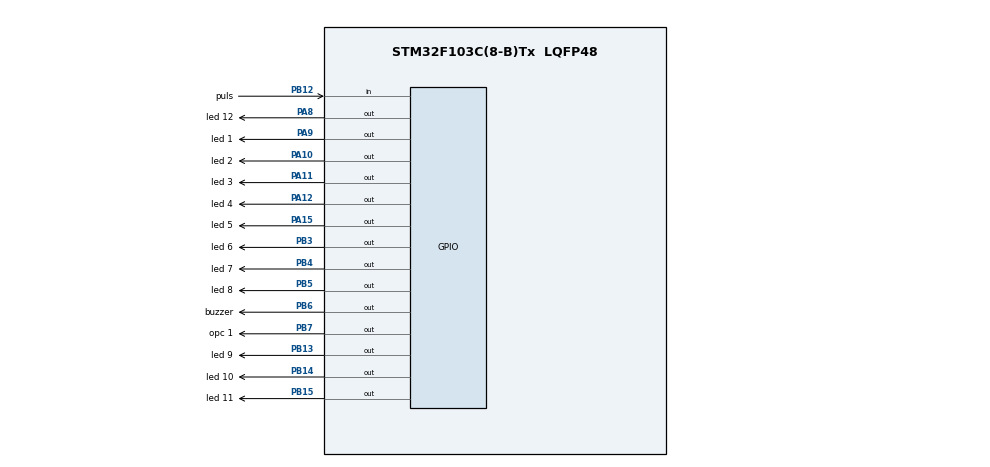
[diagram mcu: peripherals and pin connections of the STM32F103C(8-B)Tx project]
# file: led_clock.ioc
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Mcu.Family=STM32F1
Mcu.Name=STM32F103C(8-B)Tx
Mcu.Package=LQFP48
NVIC.PriorityGroup=NVIC_PRIORITYGROUP_4
PA10.GPIO_Label=led 2
PA10.Signal=GPIO_Output
PA11.GPIO_Label=led 3
PA11.Signal=GPIO_Output
PA12.GPIO_Label=led 4
PA12.Signal=GPIO_Output
PA13.Mode=Serial_Wire
PA13.Signal=SYS_JTMS-SWDIO
PA14.Mode=Serial_Wire
PA14.Signal=SYS_JTCK-SWCLK
PA15.GPIO_Label=led 5
PA15.Signal=GPIO_Output
PA8.GPIO_Label=led 12
PA8.Signal=GPIO_Output
PA9.GPIO_Label=led 1
PA9.Signal=GPIO_Output
PB12.GPIO_Label=puls
PB12.GPIO_PuPd=GPIO_PULLUP
PB12.Signal=GPIO_Input
PB13.GPIO_Label=led 9
PB13.Signal=GPIO_Output
PB14.GPIO_Label=led 10
PB14.Signal=GPIO_Output
PB15.GPIO_Label=led 11
PB15.Signal=GPIO_Output
PB3.GPIO_Label=led 6
PB3.Signal=GPIO_Output
PB4.GPIO_Label=led 7
PB4.Signal=GPIO_Output
PB5.GPIO_Label=led 8
PB5.Signal=GPIO_Output
PB6.GPIO_Label=buzzer
PB6.Signal=GPIO_Output
PB7.GPIO_Label=opc 1
PB7.Signal=GPIO_Output
PD0-OSC_IN.Mode=HSE-External-Oscillator
PD0-OSC_IN.Signal=RCC_OSC_IN
PD1-OSC_OUT.Mode=HSE-External-Oscillator
PD1-OSC_OUT.Signal=RCC_OSC_OUT
ProjectManager.HeapSize=0x200
ProjectManager.StackSize=0x400
ProjectManager.TargetToolchain=STM32CubeIDE
RCC.APB1Freq_Value=8000000
RCC.APB2Freq_Value=8000000
board=custom

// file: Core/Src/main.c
/* USER CODE BEGIN Header */
/**
  ******************************************************************************
  * @file           : main.c
  * @brief          : Main program body
  ******************************************************************************
  * @attention
  *
  * <h2><center>&copy; Copyright (c) 2020 STMicroelectronics.
  * All rights reserved.</center></h2>
  *
  * This software component is licensed by ST under BSD 3-Clause license,
  * the "License"; You may not use this file except in compliance with the
  * License. You may obtain a copy of the License at:
  *                        opensource.org/licenses/BSD-3-Clause
  *
  ******************************************************************************
  */
/* USER CODE END Header */

#include "main.h"

void SystemClock_Config(void);
static void MX_GPIO_Init(void);

/* USER CODE BEGIN 0 */
void encender(int tiempo);
void apagar(int tiempo);
int inicial(int tiempo[]);
int  run(int tiempo[]);
int set(int tiempo[]);
/* USER CODE END 0 */

int main(void)
{
  /* USER CODE BEGIN 1 */
	int tiempo[] = {7,30,0};
	int state = 1;
  /* USER CODE END 1 */

  /* MCU Configuration--------------------------------------------------------*/

  /* Reset of all peripherals, Initializes the Flash interface and the Systick. */
  HAL_Init();

  /* Configure the system clock */
  SystemClock_Config();

  /* Initialize all configured peripherals */
  MX_GPIO_Init();

  /* Infinite loop */
  /* USER CODE BEGIN WHILE */
  while (1)
  {
	  switch (state) {
	  		case 1:
	  			state = inicial(tiempo);
	  			break;
	  		case 2:
	  			state = run(tiempo);
	  			break;
	  		case 3:
	  			state = set(tiempo);
	  			break;
	  		default:
	  			break;
	  }
    /* USER CODE END WHILE */

  }
}

void SystemClock_Config(void)
{
  RCC_OscInitTypeDef RCC_OscInitStruct = {0};
  RCC_ClkInitTypeDef RCC_ClkInitStruct = {0};

  /** Initializes the CPU, AHB and APB busses clocks
  */
  RCC_OscInitStruct.OscillatorType = RCC_OSCILLATORTYPE_HSI;
  RCC_OscInitStruct.HSIState = RCC_HSI_ON;
  RCC_OscInitStruct.HSICalibrationValue = RCC_HSICALIBRATION_DEFAULT;
  RCC_OscInitStruct.PLL.PLLState = RCC_PLL_NONE;
  if (HAL_RCC_OscConfig(&RCC_OscInitStruct) != HAL_OK)
  {
    Error_Handler();
  }
  /** Initializes the CPU, AHB and APB busses clocks
  */
  RCC_ClkInitStruct.ClockType = RCC_CLOCKTYPE_HCLK|RCC_CLOCKTYPE_SYSCLK
                              |RCC_CLOCKTYPE_PCLK1|RCC_CLOCKTYPE_PCLK2;
  RCC_ClkInitStruct.SYSCLKSource = RCC_SYSCLKSOURCE_HSI;
  RCC_ClkInitStruct.AHBCLKDivider = RCC_SYSCLK_DIV1;
  RCC_ClkInitStruct.APB1CLKDivider = RCC_HCLK_DIV1;
  RCC_ClkInitStruct.APB2CLKDivider = RCC_HCLK_DIV1;

  if (HAL_RCC_ClockConfig(&RCC_ClkInitStruct, FLASH_LATENCY_0) != HAL_OK)
  {
    Error_Handler();
  }
}

static void MX_GPIO_Init(void)
{
  GPIO_InitTypeDef GPIO_InitStruct = {0};

  /* GPIO Ports Clock Enable */
  __HAL_RCC_GPIOD_CLK_ENABLE();
  __HAL_RCC_GPIOB_CLK_ENABLE();
  __HAL_RCC_GPIOA_CLK_ENABLE();

  /*Configure GPIO pin Output Level */
  HAL_GPIO_WritePin(GPIOB, led_9_Pin|led_10_Pin|led_11_Pin|led_6_Pin
                          |led_7_Pin|led_8_Pin|buzzer_Pin|opc_1_Pin, GPIO_PIN_RESET);

  /*Configure GPIO pin Output Level */
  HAL_GPIO_WritePin(GPIOA, led_12_Pin|led_1_Pin|led_2_Pin|led_3_Pin
                          |led_4_Pin|led_5_Pin, GPIO_PIN_RESET);

  /*Configure GPIO pin : puls_Pin */
  GPIO_InitStruct.Pin = puls_Pin;
  GPIO_InitStruct.Mode = GPIO_MODE_INPUT;
  GPIO_InitStruct.Pull = GPIO_PULLUP;
  HAL_GPIO_Init(puls_GPIO_Port, &GPIO_InitStruct);

  /*Configure GPIO pins : led_9_Pin led_10_Pin led_11_Pin led_6_Pin
                           led_7_Pin led_8_Pin buzzer_Pin opc_1_Pin */
  GPIO_InitStruct.Pin = led_9_Pin|led_10_Pin|led_11_Pin|led_6_Pin
                          |led_7_Pin|led_8_Pin|buzzer_Pin|opc_1_Pin;
  GPIO_InitStruct.Mode = GPIO_MODE_OUTPUT_PP;
  GPIO_InitStruct.Pull = GPIO_NOPULL;
  GPIO_InitStruct.Speed = GPIO_SPEED_FREQ_LOW;
  HAL_GPIO_Init(GPIOB, &GPIO_InitStruct);

  /*Configure GPIO pins : led_12_Pin led_1_Pin led_2_Pin led_3_Pin
                           led_4_Pin led_5_Pin */
  GPIO_InitStruct.Pin = led_12_Pin|led_1_Pin|led_2_Pin|led_3_Pin
                          |led_4_Pin|led_5_Pin;
  GPIO_InitStruct.Mode = GPIO_MODE_OUTPUT_PP;
  GPIO_InitStruct.Pull = GPIO_NOPULL;
  GPIO_InitStruct.Speed = GPIO_SPEED_FREQ_LOW;
  HAL_GPIO_Init(GPIOA, &GPIO_InitStruct);

}

/* USER CODE BEGIN 4 */
int inicial(int tiempo[]){
	 int button;
	 int time = 0;
	 int estado = 1;
	 //for para las horas
	for (int i = tiempo[0];  i < 12; ++ i) {
		//for para los minutos
		for (int j = tiempo[1]; j < 60; ++j) {
			//for para los segundos
			for (int k = tiempo[2]; k < 60; ++k) {
				tiempo[2] = tiempo [2] + 1;//sumar un segundo
				if(tiempo[2] == 59){//evaluar si ya paso un minuto
					tiempo[1]= tiempo[1] + 1;//sumar un minuto
					tiempo[2] = 0;//reset segundos
				}
				HAL_Delay(500);//delay 1 segundo
				button = HAL_GPIO_ReadPin(GPIOB, GPIO_PIN_12);//leer boton
				while (button == GPIO_PIN_SET){//mientras este presionado
					button = HAL_GPIO_ReadPin(GPIOB, GPIO_PIN_12);//leer botton
					time = time +1 ;//tiempo para reconocer estado
					HAL_Delay(1000);// delay un segundo
				}
				if(time >= 5){//para ir a set (5 seg)
					estado = 3;//estado set
				}else if (time > 0 && time < 5){
					estado = 2;//estado run
				}
				if(estado != 1){
					break;//si se tiene un estado se rompe for de segundos
				}
			}
			if(tiempo[1] == 59){//se evalua que se cumplan los minutos
				tiempo[0]= tiempo[0] + 1;//se suma una hora
				tiempo[1] = 0;//reset min
			}
			if(estado != 0){
				break;//si se tiene un estado se rompe for de minutos
			}
		}
		if(tiempo[0] == 11){//se evalua si se cumplen las horas
			tiempo[0] = 0;//reset horas
		}
		if(estado != 0){
			break;//si se tiene un estado se rompe for de horas
		}
	}
	return estado;
}
void encender(int tiempo){
	switch (tiempo) {//switch para cambiar estado de los leds
		case 0:
			HAL_GPIO_WritePin(GPIOA, GPIO_PIN_9, GPIO_PIN_SET);
			break;
		case 1:
			HAL_GPIO_WritePin(GPIOA, GPIO_PIN_10, GPIO_PIN_SET);
			break;
		case 2:
			HAL_GPIO_WritePin(GPIOA, GPIO_PIN_11, GPIO_PIN_SET);
			break;
		case 3:
			HAL_GPIO_WritePin(GPIOA, GPIO_PIN_12, GPIO_PIN_SET);
			break;
		case 4:
			HAL_GPIO_WritePin(GPIOA, GPIO_PIN_15, GPIO_PIN_SET);
			break;
		case 5:
			HAL_GPIO_WritePin(GPIOB, GPIO_PIN_3, GPIO_PIN_SET);
			break;
		case 6:
			HAL_GPIO_WritePin(GPIOB, GPIO_PIN_4, GPIO_PIN_SET);
			break;
		case 7:
			HAL_GPIO_WritePin(GPIOB, GPIO_PIN_5, GPIO_PIN_SET);
			break;
		case 8:
			HAL_GPIO_WritePin(GPIOB, GPIO_PIN_13, GPIO_PIN_SET);
			break;
		case 9:
			HAL_GPIO_WritePin(GPIOB, GPIO_PIN_14, GPIO_PIN_SET);
			break;
		case 10:
			HAL_GPIO_WritePin(GPIOB, GPIO_PIN_15, GPIO_PIN_SET);
			break;
		case 11:
			HAL_GPIO_WritePin(GPIOA, GPIO_PIN_8, GPIO_PIN_SET);
			break;
		default:
			break;
	}
}
void apagar(int tiempo){
	switch (tiempo) {//switch para cambiar estado de los leds
		case 0:
			HAL_GPIO_WritePin(GPIOA, GPIO_PIN_9, GPIO_PIN_RESET);
			break;
		case 1:
			HAL_GPIO_WritePin(GPIOA, GPIO_PIN_10, GPIO_PIN_RESET);
			break;
		case 2:
			HAL_GPIO_WritePin(GPIOA, GPIO_PIN_11, GPIO_PIN_RESET);
			break;
		case 3:
			HAL_GPIO_WritePin(GPIOA, GPIO_PIN_12, GPIO_PIN_RESET);
			break;
		case 4:
			HAL_GPIO_WritePin(GPIOA, GPIO_PIN_15, GPIO_PIN_RESET);
			break;
		case 5:
			HAL_GPIO_WritePin(GPIOB, GPIO_PIN_3, GPIO_PIN_RESET);
			break;
		case 6:
			HAL_GPIO_WritePin(GPIOB, GPIO_PIN_4, GPIO_PIN_RESET);
			break;
		case 7:
			HAL_GPIO_WritePin(GPIOB, GPIO_PIN_5, GPIO_PIN_RESET);
			break;
		case 8:
			HAL_GPIO_WritePin(GPIOB, GPIO_PIN_13, GPIO_PIN_RESET);
			break;
		case 9:
			HAL_GPIO_WritePin(GPIOB, GPIO_PIN_14, GPIO_PIN_RESET);
			break;
		case 10:
			HAL_GPIO_WritePin(GPIOB, GPIO_PIN_15, GPIO_PIN_RESET);
			break;
		case 11:
			HAL_GPIO_WritePin(GPIOA, GPIO_PIN_8, GPIO_PIN_RESET);
			break;
		default:
			break;
	}
}
int run(int tiempo[]){//estado run
	int estado = 2;//se define el estado actual
	encender(tiempo[0]);//se enciende led de las horas
	for (int i = 0; i < 5; ++i) {//ciclo de parpadeo minutos
		encender(tiempo[1] / 5);//encendido
		HAL_Delay(300);//espera
		apagar(tiempo[1] / 5);//apagado
		HAL_Delay(300);//espera
	}
	apagar(tiempo[0]);//apagar hora
	estado = 1;//estado principal
	return estado;//retorno
}

int set(int tiempo[]){
	int estado = 3;//estado
	int button;//pulso
	int time = 0;//tiempo en seg
	int time2 = 0;
	HAL_GPIO_WritePin(GPIOB, GPIO_PIN_6, GPIO_PIN_SET);//pitido on
	HAL_Delay(300);//espera 300 ms
	HAL_GPIO_WritePin(GPIOB, GPIO_PIN_6, GPIO_PIN_RESET);//pitido off
	HAL_Delay(300);//esperar 300 ms
	HAL_GPIO_WritePin(GPIOB, GPIO_PIN_6, GPIO_PIN_SET);//pitido on
	HAL_Delay(300);//esperar 300ms
	HAL_GPIO_WritePin(GPIOB, GPIO_PIN_6, GPIO_PIN_RESET);//pitido off
	encender(tiempo[0]);//encender las horas
	do{
		button = HAL_GPIO_ReadPin(GPIOB, GPIO_PIN_12);//leer boton
		while (button == GPIO_PIN_SET){//mientras este presionado
			button = HAL_GPIO_ReadPin(GPIOB, GPIO_PIN_12);//seguir leyendo boton
			time = time + 1;//sumar al tiempo
			HAL_Delay(1000);//esperar un segundo
		}
		if(time >= 5){//si el pulso es mayo a 5 seg
			apagar(tiempo[0]);// apagar horas
			encender(tiempo[1] / 5); // encender min
			//for para horas
			for (int i = tiempo[0];  i < 12; ++ i) {
					//for para los minutos
					for (int j = tiempo[1]; j < 60; ++j) {
						//for para los segundos
						for (int k = tiempo[2]; k < 60; ++k) {
							button = HAL_GPIO_ReadPin(GPIOB, GPIO_PIN_12);//leer boton
							while (button == GPIO_PIN_SET){//mientras este presionado
								button = HAL_GPIO_ReadPin(GPIOB, GPIO_PIN_12);//seguir leyendo boton
								time2 = time2 + 1;//sumer tiempo
								HAL_Delay(1000);//esperar un seg
							}
							if(time2 > 0 && time2 < 5){//si el pulso es menor a 5
								apagar(tiempo[1] / 5);//apagar min
								if(tiempo[1] == 60){
									tiempo[1] = 0;
								}else if(tiempo[1] < 60){
									tiempo[1] = tiempo[1] + 5;//sumar 5 min
								}
								encender(tiempo[1] / 5);//encender min
								HAL_Delay(2000);
								apagar(tiempo[1] / 5);//apagar min
								time2 = 0;
							}else if (time2 >= 5){//si el pulso es mayor a 5
								HAL_GPIO_WritePin(GPIOB, GPIO_PIN_6, GPIO_PIN_SET);//pitido on
								HAL_Delay(2000);//esperar 2 seg
								HAL_GPIO_WritePin(GPIOB, GPIO_PIN_6, GPIO_PIN_RESET);//pitido off
								estado = 1;//estado en principal
								apagar(tiempo[1]/5);//apagar horas
								break;//romper for seg
							}
							HAL_Delay(1000);//esperar un segundo
						}
						if(estado == 1){//si cambio el estado
							break;//romper min
						}
					}
					if(estado == 1){//si cambio el estado
							break;//romper horas
					}
			}
		}else if(time > 0 && time < 5){//si el pulso es menor a 5
			apagar(tiempo[0]);//apagar horas
			if (tiempo[0]== 11){
				tiempo[0] = 0;//se reinicia la hora
			}else if(tiempo[0]<11){
				tiempo[0] = tiempo[0] + 1;//sumar 1 hora
			}
			encender(tiempo[0]);//encender horas
			time = 0;
		}
	}while(estado == 3);
	return estado;//retornar estado
}
/* USER CODE END 4 */

void Error_Handler(void)
{
}

/************************ (C) COPYRIGHT STMicroelectronics *****END OF FILE****/
